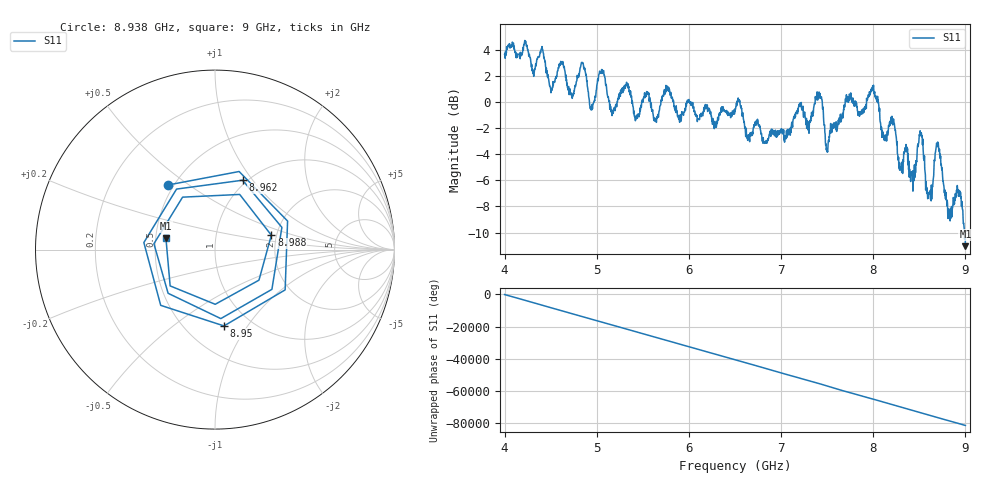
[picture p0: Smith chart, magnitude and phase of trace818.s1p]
! Created with skrf 1.8.0 (http://scikit-rf.org).
# Hz S RI R 50.0
!freq ReS11 ImS11
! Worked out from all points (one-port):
!   1601 points, 4 GHz to 9 GHz, reference 50 ohm
!   lowest |S11| = -11.0 dB at 9 GHz (marker M1), VSWR 1.78, Z = 28.3 + j3.86 ohm
!   |S11| at or under -10 dB: 8.988882 GHz to 8.996073 GHz (7.191 MHz wide, 0.08 % of centre); 8.997364 GHz to end of sweep
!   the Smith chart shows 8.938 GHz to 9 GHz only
!   S11 on the Smith chart (normalised r, x): 8.938 GHz: 0.46, +0.42; 8.95 GHz: 0.75, -0.79; 8.962 GHz: 0.96, +0.89; 8.988 GHz: 1.88, +0.34; 9 GHz: 0.57, +0.08
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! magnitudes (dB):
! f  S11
! 4 GHz  3.7
! 4.406 GHz  4.2
! 4.506 GHz  0.8
! 4.625 GHz  2.9
! 4.725 GHz  0.7
! 4.853 GHz  2.9
! 4.944 GHz  -0.4
! 5.05 GHz  2.4
! 5.166 GHz  -1.0
! 5.25 GHz  0.7
! 5.875 GHz  -1.1
! 6.5 GHz  -0.7
! 6.828 GHz  -3.1
! 7.125 GHz  -1.9
! 7.416 GHz  0.3
! 7.506 GHz  -3.8
! 7.75 GHz  0.5
! 7.997 GHz  1.1
! 8.375 GHz  -4.8
! 8.516 GHz  -2.3
! 8.612 GHz  -7.0
! 8.7 GHz  -3.1
! 8.819 GHz  -8.8
! 8.938 GHz  -7.0
! 8.95 GHz  -7.4
! 8.962 GHz  -7.6
! 8.988 GHz  -9.8
! 9 GHz  -11.0
